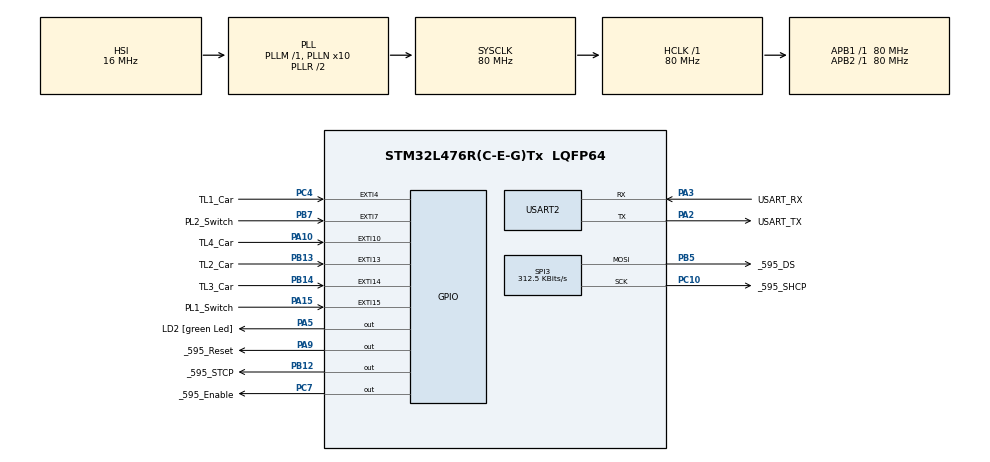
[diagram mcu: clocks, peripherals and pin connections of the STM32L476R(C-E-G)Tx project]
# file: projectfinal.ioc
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FREERTOS.BinarySemaphores01=ImGreenNow,Dynamic,NULL,Available
FREERTOS.Mutexes01=UART_Mutex,Dynamic,NULL,Available
FREERTOS.Queues01=MainQueue,1,uint16_t,0,Dynamic,NULL,NULL
FREERTOS.Tasks01=defaultTask,24,128,StartDefaultTask,Default,NULL,Dynamic,NULL,NULL;VertialTask,24,128,StartVertialTask,Default,NULL,Dynamic,NULL,NULL;HorizontalTask,24,128,StartHorizontalTask,Default,NULL,Dynamic,NULL,NULL;ActuatorTask,8,128,StartActuatorTask,Default,NULL,Dynamic,NULL,NULL
FREERTOS.Timers01=Green,GreenDone,osTimerOnce,Default,NULL,Dynamic,NULL;V_Orange,V_OrangeDone,osTimerOnce,Default,NULL,Dynamic,NULL;RedMax,RedMaxDone,osTimerOnce,Default,NULL,Dynamic,NULL;Walking,WalkingDone,osTimerOnce,Default,NULL,Dynamic,NULL;Pedestrian,PedestrianDone,osTimerOnce,Default,NULL,Dynamic,NULL;ToggleTimer,ToggleTimerCallback,osTimerPeriodic,Default,toggle_bit,Dynamic,NULL;H_Orange,H_OrangeDone,osTimerOnce,Default,NULL,Dynamic,NULL
FREERTOS.configTOTAL_HEAP_SIZE=6000
FREERTOS.configUSE_NEWLIB_REENTRANT=1
Mcu.Family=STM32L4
Mcu.Name=STM32L476R(C-E-G)Tx
Mcu.Package=LQFP64
NVIC.EXTI15_10_IRQn=true\:5\:0\:false\:false\:true\:true\:true\:true\:true
NVIC.EXTI4_IRQn=true\:5\:0\:false\:false\:true\:true\:true\:true\:true
NVIC.EXTI9_5_IRQn=true\:5\:0\:false\:false\:true\:true\:true\:true\:true
NVIC.PriorityGroup=NVIC_PRIORITYGROUP_4
NVIC.TIM1_UP_TIM16_IRQn=true\:15\:0\:false\:false\:true\:false\:false\:true\:true
NVIC.TimeBase=TIM1_UP_TIM16_IRQn
NVIC.TimeBaseIP=TIM1
NVIC.USART2_IRQn=true\:5\:0\:false\:false\:true\:true\:true\:true\:true
PA10.GPIO_Label=TL4_Car
PA10.GPIO_ModeDefaultEXTI=GPIO_MODE_IT_RISING_FALLING
PA10.Signal=GPXTI10
PA13\ (JTMS-SWDIO).GPIO_Label=TMS
PA13\ (JTMS-SWDIO).Mode=Serial_Wire
PA13\ (JTMS-SWDIO).Signal=SYS_JTMS-SWDIO
PA14\ (JTCK-SWCLK).GPIO_Label=TCK
PA14\ (JTCK-SWCLK).Mode=Serial_Wire
PA14\ (JTCK-SWCLK).Signal=SYS_JTCK-SWCLK
PA15\ (JTDI).GPIO_Label=PL1_Switch
PA15\ (JTDI).GPIO_PuPd=GPIO_PULLUP
PA15\ (JTDI).Signal=GPXTI15
PA2.GPIO_Label=USART_TX
PA2.GPIO_Mode=GPIO_MODE_AF_PP
PA2.GPIO_PuPd=GPIO_NOPULL
PA2.GPIO_Speed=GPIO_SPEED_FREQ_VERY_HIGH
PA2.Mode=Asynchronous
PA2.Signal=USART2_TX
PA3.GPIO_Label=USART_RX
PA3.GPIO_Mode=GPIO_MODE_AF_PP
PA3.GPIO_PuPd=GPIO_NOPULL
PA3.GPIO_Speed=GPIO_SPEED_FREQ_VERY_HIGH
PA3.Mode=Asynchronous
PA3.Signal=USART2_RX
PA5.GPIO_Label=LD2 [green Led]
PA5.GPIO_ModeDefaultOutputPP=GPIO_MODE_OUTPUT_PP
PA5.GPIO_PuPd=GPIO_NOPULL
PA5.GPIO_Speed=GPIO_SPEED_FREQ_LOW
PA5.Signal=GPIO_Output
PA9.GPIO_Label=_595_Reset
PA9.Signal=GPIO_Output
PB12.GPIO_Label=_595_STCP
PB12.Signal=GPIO_Output
PB13.GPIO_Label=TL2_Car
PB13.GPIO_ModeDefaultEXTI=GPIO_MODE_IT_RISING_FALLING
PB13.Signal=GPXTI13
PB14.GPIO_Label=TL3_Car
PB14.GPIO_ModeDefaultEXTI=GPIO_MODE_IT_RISING_FALLING
PB14.Signal=GPXTI14
PB3\ (JTDO-TRACESWO).GPIO_Label=SWO
PB3\ (JTDO-TRACESWO).Signal=SYS_JTDO-SWO
PB5.GPIO_Label=_595_DS
PB5.Mode=TX_Only_Simplex_Unidirect_Master
PB5.Signal=SPI3_MOSI
PB7.GPIO_Label=PL2_Switch
PB7.GPIO_PuPd=GPIO_PULLUP
PB7.Signal=GPXTI7
PC10.GPIO_Label=_595_SHCP
PC10.Mode=TX_Only_Simplex_Unidirect_Master
PC10.Signal=SPI3_SCK
PC11.GPIO_Label=Disp_CS
PC11.Signal=SPI3_MISO
PC14-OSC32_IN\ (PC14).Mode=LSE-External-Oscillator
PC14-OSC32_IN\ (PC14).Signal=RCC_OSC32_IN
PC15-OSC32_OUT\ (PC15).Mode=LSE-External-Oscillator
PC15-OSC32_OUT\ (PC15).Signal=RCC_OSC32_OUT
PC4.GPIO_Label=TL1_Car
PC4.GPIO_ModeDefaultEXTI=GPIO_MODE_IT_RISING_FALLING
PC4.Signal=GPXTI4
PC7.GPIO_Label=_595_Enable
PC7.Signal=GPIO_Output
PH0-OSC_IN\ (PH0).Signal=RCC_OSC_IN
PH1-OSC_OUT\ (PH1).Signal=RCC_OSC_OUT
ProjectManager.HeapSize=0x200
ProjectManager.StackSize=0x400
ProjectManager.TargetToolchain=STM32CubeIDE
RCC.ADCFreq_Value=64000000
RCC.AHBFreq_Value=80000000
RCC.APB1Freq_Value=80000000
RCC.APB1TimFreq_Value=80000000
RCC.APB2Freq_Value=80000000
RCC.APB2TimFreq_Value=80000000
RCC.CortexFreq_Value=80000000
RCC.HCLKFreq_Value=80000000
RCC.HSE_VALUE=8000000
RCC.HSI_VALUE=16000000
RCC.MSI_VALUE=4000000
RCC.PLLN=10
RCC.PLLSourceVirtual=RCC_PLLSOURCE_HSI
RCC.PREFETCH_ENABLE=1
RCC.SYSCLKFreq_VALUE=80000000
RCC.SYSCLKSource=RCC_SYSCLKSOURCE_PLLCLK
RCC.USBFreq_Value=64000000
RCC.VCOOutputFreq_Value=160000000
SPI3.BaudRatePrescaler=SPI_BAUDRATEPRESCALER_256
SPI3.CalculateBaudRate=312.5 KBits/s
SPI3.DataSize=SPI_DATASIZE_8BIT
SPI3.Direction=SPI_DIRECTION_2LINES
SPI3.Mode=SPI_MODE_MASTER
SPI3.VirtualType=VM_MASTER
USART2.VirtualMode-Asynchronous=VM_ASYNC
VP_FREERTOS_VS_CMSIS_V2.Mode=CMSIS_V2
VP_SYS_VS_tim1.Mode=TIM1
board=NUCLEO-L476RG

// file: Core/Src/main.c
/* USER CODE BEGIN Header */
/**
  ******************************************************************************
  * @file           : main.c
  * @brief          : Main program body
  ******************************************************************************
  * @attention
  *
  * Copyright (c) 2025 STMicroelectronics.
  * All rights reserved.
  *
  * This software is licensed under terms that can be found in the LICENSE file
  * in the root directory of this software component.
  * If no LICENSE file comes with this software, it is provided AS-IS.
  *
  ******************************************************************************
  */
/* USER CODE END Header */
#include "main.h"
#include "cmsis_os.h"
#include "spi.h"
#include "usart.h"
#include "gpio.h"

/* USER CODE BEGIN Includes */
#include "GPIOinputs.h"
#include "SPIhandler.h"
#include "test.h"
#include "statemachine.h"
#include "statemachine2.h"
#include "UARThandler.h"

/* USER CODE END Includes */

void SystemClock_Config(void);
void MX_FREERTOS_Init(void);

/* USER CODE BEGIN 0 */
uint8_t test[3] = {0xff,0xff,0xff};
/* USER CODE END 0 */

int main(void)
{

  /* MCU Configuration--------------------------------------------------------*/

  /* Reset of all peripherals, Initializes the Flash interface and the Systick. */
  HAL_Init();

  /* Configure the system clock */
  SystemClock_Config();

  /* Initialize all configured peripherals */
  MX_GPIO_Init();
  MX_USART2_UART_Init();
  MX_SPI3_Init();

  /* USER CODE BEGIN 2 */

  SPIinit();					//as the name suggest it
  Car_Starting_positions(); 	//as the name suggest it
  RuntimeConfig_init();         //gets ready to recive the uart message

  /* USER CODE END 2 */

  /* Init scheduler */
  osKernelInitialize();  /* Call init function for freertos objects (in cmsis_os2.c) */
  MX_FREERTOS_Init();

  /* Start scheduler */
  osKernelStart();

  /* We should never get here as control is now taken by the scheduler */

  /* Infinite loop */
  while (1)
  {

  }
}

void SystemClock_Config(void)
{
  RCC_OscInitTypeDef RCC_OscInitStruct = {0};
  RCC_ClkInitTypeDef RCC_ClkInitStruct = {0};

  /** Configure the main internal regulator output voltage
  */
  if (HAL_PWREx_ControlVoltageScaling(PWR_REGULATOR_VOLTAGE_SCALE1) != HAL_OK)
  {
    Error_Handler();
  }

  /** Initializes the RCC Oscillators according to the specified parameters
  * in the RCC_OscInitTypeDef structure.
  */
  RCC_OscInitStruct.OscillatorType = RCC_OSCILLATORTYPE_HSI;
  RCC_OscInitStruct.HSIState = RCC_HSI_ON;
  RCC_OscInitStruct.HSICalibrationValue = RCC_HSICALIBRATION_DEFAULT;
  RCC_OscInitStruct.PLL.PLLState = RCC_PLL_ON;
  RCC_OscInitStruct.PLL.PLLSource = RCC_PLLSOURCE_HSI;
  RCC_OscInitStruct.PLL.PLLM = 1;
  RCC_OscInitStruct.PLL.PLLN = 10;
  RCC_OscInitStruct.PLL.PLLP = RCC_PLLP_DIV7;
  RCC_OscInitStruct.PLL.PLLQ = RCC_PLLQ_DIV2;
  RCC_OscInitStruct.PLL.PLLR = RCC_PLLR_DIV2;
  if (HAL_RCC_OscConfig(&RCC_OscInitStruct) != HAL_OK)
  {
    Error_Handler();
  }

  /** Initializes the CPU, AHB and APB buses clocks
  */
  RCC_ClkInitStruct.ClockType = RCC_CLOCKTYPE_HCLK|RCC_CLOCKTYPE_SYSCLK
                              |RCC_CLOCKTYPE_PCLK1|RCC_CLOCKTYPE_PCLK2;
  RCC_ClkInitStruct.SYSCLKSource = RCC_SYSCLKSOURCE_PLLCLK;
  RCC_ClkInitStruct.AHBCLKDivider = RCC_SYSCLK_DIV1;
  RCC_ClkInitStruct.APB1CLKDivider = RCC_HCLK_DIV1;
  RCC_ClkInitStruct.APB2CLKDivider = RCC_HCLK_DIV1;

  if (HAL_RCC_ClockConfig(&RCC_ClkInitStruct, FLASH_LATENCY_4) != HAL_OK)
  {
    Error_Handler();
  }
}

void HAL_TIM_PeriodElapsedCallback(TIM_HandleTypeDef *htim)
{
  if (htim->Instance == TIM1)
  {
    HAL_IncTick();
  }
}

void Error_Handler(void)
{
  __disable_irq();
  while (1)
  {
  }
}

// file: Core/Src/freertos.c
/* USER CODE BEGIN Header */
/**
  ******************************************************************************
  * File Name          : freertos.c
  * Description        : Code for freertos applications
  ******************************************************************************
  * @attention
  *
  * Copyright (c) 2025 STMicroelectronics.
  * All rights reserved.
  *
  * This software is licensed under terms that can be found in the LICENSE file
  * in the root directory of this software component.
  * If no LICENSE file comes with this software, it is provided AS-IS.
  *
  ******************************************************************************
  */
/* USER CODE END Header */

#include "FreeRTOS.h"
#include "task.h"
#include "main.h"
#include "cmsis_os.h"

/* USER CODE BEGIN Includes */
#include "GPIOinputs.h"
#include "SPIhandler.h"
#include "TimeAndDelays.h"
#include "statemachine2.h"
#include <string.h>
#include "timers.h"
#include "UARThandler.h"

/* USER CODE END Includes */

/* USER CODE BEGIN PTD */
typedef enum {
    STATE_RED,
    STATE_GREEN,
    STATE_PENDING,     // Button pressed, waiting for Green timer
    STATE_ORANGE_G2R,  // Green to Red transition
    STATE_ORANGE_R2G,  // Red to Green transition
    STATE_PED_WALK     // Pedestrian crossing active
} LightState;

/* USER CODE END PTD */

/* USER CODE BEGIN PD */
#define TOGGLE_EVT_1     (1 << 0)
#define TOGGLE_EVT_2     (1 << 1)
#define REDMAX_EVT    	 (1 << 2)
#define V_ORANGE_EVT     (1 << 3)
#define H_ORANGE_EVT     (1 << 7)
#define GREEN_EVT    	 (1 << 4)
#define PED_EVT     	 (1 << 5)
#define SHOW_EVT		 (1 << 6)
#define WALK_EVT		 (1 << 6)

/* USER CODE END PD */

/* USER CODE BEGIN Variables */
static uint32_t toggle_evt_value;/* USER CODE END Variables */

/* Definitions for defaultTask */
osThreadId_t defaultTaskHandle;
const osThreadAttr_t defaultTask_attributes = {
  .name = "defaultTask",
  .stack_size = 128 * 4,
  .priority = (osPriority_t) osPriorityNormal,
};
/* Definitions for VertialTask */
osThreadId_t VertialTaskHandle;
const osThreadAttr_t VertialTask_attributes = {
  .name = "VertialTask",
  .stack_size = 128 * 4,
  .priority = (osPriority_t) osPriorityNormal,
};
/* Definitions for HorizontalTask */
osThreadId_t HorizontalTaskHandle;
const osThreadAttr_t HorizontalTask_attributes = {
  .name = "HorizontalTask",
  .stack_size = 128 * 4,
  .priority = (osPriority_t) osPriorityNormal,
};
/* Definitions for ActuatorTask */
osThreadId_t ActuatorTaskHandle;
const osThreadAttr_t ActuatorTask_attributes = {
  .name = "ActuatorTask",
  .stack_size = 128 * 4,
  .priority = (osPriority_t) osPriorityLow,
};
/* Definitions for MainQueue */
osMessageQueueId_t MainQueueHandle;
const osMessageQueueAttr_t MainQueue_attributes = {
  .name = "MainQueue"
};
/* Definitions for Green */
osTimerId_t GreenHandle;
const osTimerAttr_t Green_attributes = {
  .name = "Green"
};
/* Definitions for V_Orange */
osTimerId_t V_OrangeHandle;
const osTimerAttr_t V_Orange_attributes = {
  .name = "V_Orange"
};
/* Definitions for RedMax */
osTimerId_t RedMaxHandle;
const osTimerAttr_t RedMax_attributes = {
  .name = "RedMax"
};
/* Definitions for Walking */
osTimerId_t WalkingHandle;
const osTimerAttr_t Walking_attributes = {
  .name = "Walking"
};
/* Definitions for Pedestrian */
osTimerId_t PedestrianHandle;
const osTimerAttr_t Pedestrian_attributes = {
  .name = "Pedestrian"
};
/* Definitions for ToggleTimer */
osTimerId_t ToggleTimerHandle;
const osTimerAttr_t ToggleTimer_attributes = {
  .name = "ToggleTimer"
};
/* Definitions for H_Orange */
osTimerId_t H_OrangeHandle;
const osTimerAttr_t H_Orange_attributes = {
  .name = "H_Orange"
};
/* Definitions for UART_Mutex */
osMutexId_t UART_MutexHandle;
const osMutexAttr_t UART_Mutex_attributes = {
  .name = "UART_Mutex"
};
/* Definitions for ImGreenNow */
osSemaphoreId_t ImGreenNowHandle;
const osSemaphoreAttr_t ImGreenNow_attributes = {
  .name = "ImGreenNow"
};

/* USER CODE BEGIN FunctionPrototypes */
uint8_t IsActive(osThreadId_t );
void Restbutton(void);
/* USER CODE END FunctionPrototypes */

void StartDefaultTask(void *argument);
void StartVertialTask(void *argument);
void StartHorizontalTask(void *argument);
void StartActuatorTask(void *argument);
void GreenDone(void *argument);
void V_OrangeDone(void *argument);
void RedMaxDone(void *argument);
void WalkingDone(void *argument);
void PedestrianDone(void *argument);
void ToggleTimerCallback(void *argument);
void H_OrangeDone(void *argument);

void MX_FREERTOS_Init(void); /* (MISRA C 2004 rule 8.1) */

void MX_FREERTOS_Init(void) {
  /* Create the mutex(es) */
  /* creation of UART_Mutex */
  UART_MutexHandle = osMutexNew(&UART_Mutex_attributes);

  /* Create the semaphores(s) */
  /* creation of ImGreenNow */
  ImGreenNowHandle = osSemaphoreNew(1, 0, &ImGreenNow_attributes);

  /* Create the timer(s) */
  /* creation of Green */
  GreenHandle = osTimerNew(GreenDone, osTimerOnce, NULL, &Green_attributes);

  /* creation of V_Orange */
  V_OrangeHandle = osTimerNew(V_OrangeDone, osTimerOnce, NULL, &V_Orange_attributes);

  /* creation of RedMax */
  RedMaxHandle = osTimerNew(RedMaxDone, osTimerOnce, NULL, &RedMax_attributes);

  /* creation of Walking */
  WalkingHandle = osTimerNew(WalkingDone, osTimerOnce, NULL, &Walking_attributes);

  /* creation of Pedestrian */
  PedestrianHandle = osTimerNew(PedestrianDone, osTimerOnce, NULL, &Pedestrian_attributes);

  /* creation of ToggleTimer */
  ToggleTimerHandle = osTimerNew(ToggleTimerCallback, osTimerPeriodic, &toggle_evt_value, &ToggleTimer_attributes);

  /* creation of H_Orange */
  H_OrangeHandle = osTimerNew(H_OrangeDone, osTimerOnce, NULL, &H_Orange_attributes);

  /* Create the queue(s) */
  /* creation of MainQueue */
  MainQueueHandle = osMessageQueueNew (1, sizeof(uint16_t), &MainQueue_attributes);

  /* Create the thread(s) */
  /* creation of defaultTask */
  defaultTaskHandle = osThreadNew(StartDefaultTask, NULL, &defaultTask_attributes);

  /* creation of VertialTask */
  VertialTaskHandle = osThreadNew(StartVertialTask, NULL, &VertialTask_attributes);

  /* creation of HorizontalTask */
  HorizontalTaskHandle = osThreadNew(StartHorizontalTask, NULL, &HorizontalTask_attributes);

  /* creation of ActuatorTask */
  ActuatorTaskHandle = osThreadNew(StartActuatorTask, NULL, &ActuatorTask_attributes);

}

void StartDefaultTask(void *argument)
{
  for(;;)
  {
    osDelay(1);
  }
}

void StartVertialTask(void *argument)
{
  /* USER CODE BEGIN StartVertialTask */
	LightState Vcurrent = STATE_GREEN;
	//take the semaphore at starup
	osSemaphoreRelease(ImGreenNowHandle);
	osSemaphoreAcquire(ImGreenNowHandle, osWaitForever);

 uint32_t events;

  /* Infinite loop */
  for(;;)
  {
	  uint8_t V_ACTIVE = ActiveCarOnLane(Vertical);
	  uint8_t H_ACTIVE = ActiveCarOnLane(Horizontal);

	  switch(Vcurrent){

	  case STATE_GREEN:
		  //show the lights that represent the current state on the board
	      memcpy(Shownstate, V_Green, 3);
	      xTaskNotify(ActuatorTaskHandle, SHOW_EVT, eSetBits);

	      // if horizotal car arrives start the redmax timer
	      if (H_ACTIVE == 1 && IsActive(RedMaxHandle) == 0) {
	          osTimerStart(RedMaxHandle, pdMS_TO_TICKS(redDelayMax - 2* orangeDelay));
	          osTimerStop(GreenHandle);
	      }
	      // if horizotal leaves arrives reset the redmax timer
	      else if (H_ACTIVE == 0) {
	          osTimerStop(RedMaxHandle);
	      }

		  // if current lane is emty and horiontal car is waiting immeadaty switch horizontal
	      if ((V_ACTIVE == 0) && (H_ACTIVE == 1)) {
	          osTimerStop(RedMaxHandle);
	          osTimerStop(GreenHandle);
	          Vcurrent = STATE_ORANGE_G2R;
	      }
	      // if no horizontal car is waiting reset the all timers to halt a transion from happening
	      else if ((V_ACTIVE == 1) && (H_ACTIVE == 0)) {
	          osTimerStop(GreenHandle);
	      }
	      // if there is no cars what so ever start greenDelay
	      else if ((V_ACTIVE == 0) && (H_ACTIVE == 0) && !IsActive(GreenHandle)) {
	          osTimerStart(GreenHandle, pdMS_TO_TICKS(greenDelay - 2* orangeDelay));
	      }

	      // Pedestrian button press immediately go to STATE_PENDING
	      if (PL2_switch_var == 1) {
	          PL2_switch_var = 0;
	          osTimerStop(RedMaxHandle);
	          osTimerStop(GreenHandle);
	          Vcurrent = STATE_PENDING;
	      }

	      // Check timer/event notifications without blocking
	      BaseType_t notified = xTaskNotifyWait(0, 0xFFFFFFFF, &events, pdMS_TO_TICKS(10));
	      if (notified == pdTRUE) {

	          if (events & GREEN_EVT) {
	              Vcurrent = STATE_ORANGE_G2R;
	          }
	          else if (events & REDMAX_EVT) {
	              Vcurrent = STATE_ORANGE_G2R;
	          }

	      }
	  break;

	  case STATE_ORANGE_G2R:
		  //show the lights that represent the current state on the board
	      memcpy(Shownstate, V_Orange_G2R, 3);
	      xTaskNotify(ActuatorTaskHandle, SHOW_EVT, eSetBits);

	      //start timer
	      if (!IsActive(V_OrangeHandle)) {
	          osTimerStart(V_OrangeHandle, pdMS_TO_TICKS(orangeDelay));
	      }
	      //wait for timer to finish
	      xTaskNotifyWait(0, 0xFFFFFFFF, &events, osWaitForever);
	      if (events & V_ORANGE_EVT) {
	    	  osTimerStop(V_OrangeHandle);
	          Vcurrent = STATE_RED;
	      }
	  break;

	  case STATE_RED:
		  //relase the semaphore so horizontal task can take over
		  osSemaphoreRelease(ImGreenNowHandle);
          Vcurrent = STATE_ORANGE_R2G;
		  osThreadYield();
		  // wait for horizontal task to finish to resume the statemachine
          osSemaphoreAcquire(ImGreenNowHandle, osWaitForever);

		  break;
	  //this is the state it returns to when coming from horizontal task
	  case STATE_ORANGE_R2G:

		  xTaskNotifyStateClear(NULL);
		  xTaskNotifyWait(0, 0xFFFFFFFF, &events, 0);

          memcpy(Shownstate, V_Orange_R2G, 3);
          xTaskNotify(ActuatorTaskHandle, SHOW_EVT, eSetBits);
	      if (!IsActive(V_OrangeHandle)) {
	          osTimerStart(V_OrangeHandle, pdMS_TO_TICKS(orangeDelay));
	      }

	      xTaskNotifyWait(0, 0xFFFFFFFF, &events, osWaitForever);

	      if (events & V_ORANGE_EVT) {
	    	  osTimerStop(V_OrangeHandle);
	          Vcurrent = STATE_GREEN;
	      }

		  break;

		  //this state is basically all the trassion states combined into one, It ignors all the other timers and focusees on the pedestrian timers
		  //this is due to that we pedestrian have the prioity
	  case STATE_PENDING:

		  toggle_evt_value =  TOGGLE_EVT_2;
		   if (!IsActive(ToggleTimerHandle)) {
		       osTimerStart(ToggleTimerHandle, pdMS_TO_TICKS(toggleFreq));
		    }

	      if (!IsActive(PedestrianHandle)) {
	          osTimerStart(PedestrianHandle, pdMS_TO_TICKS(pedestrianDelay - 2 * orangeDelay));
	      }
	      xTaskNotifyWait(0, 0xFFFFFFFF, &events, osWaitForever);

	      if (events & PED_EVT) {
	    	  memcpy(Shownstate, V_Orange_G2R, 3);
		      if (!IsActive(V_OrangeHandle)) {
		          osTimerStart(V_OrangeHandle, pdMS_TO_TICKS(orangeDelay));

		      }
	      }
		  xTaskNotifyWait(0, 0xFFFFFFFF, &events, osWaitForever);
	      if (events & V_ORANGE_EVT) {
	    	  memcpy(Shownstate, H_Orange_R2G, 3);
		      if (!IsActive(V_OrangeHandle)) {
		          osTimerStart(V_OrangeHandle, pdMS_TO_TICKS(orangeDelay));

		      }

		      }
		  xTaskNotifyWait(0, 0xFFFFFFFF, &events, osWaitForever);
	      if (events & V_ORANGE_EVT) {
	    	  osTimerStop(V_OrangeHandle);
	    	  Vcurrent = STATE_PED_WALK;

		      }

	      break;

	      //eqivalent to the horzontal STATE_GREEN but only stays there for walkingDelay ms
	  case STATE_PED_WALK:

		  osTimerStop(ToggleTimerHandle);
    	  memcpy(Shownstate, H_Green, 3);
    	  xTaskNotify(ActuatorTaskHandle,SHOW_EVT,eSetBits);

    	  if (!IsActive(WalkingHandle)) {
		       osTimerStart(WalkingHandle, pdMS_TO_TICKS(walkingDelay));
		  }
    	  xTaskNotifyWait(0, 0xFFFFFFFF, &events, osWaitForever);
    	  if (events & WALK_EVT) {
        	  memcpy(Shownstate, H_Orange_G2R, 3);
        	  xTaskNotify(ActuatorTaskHandle,SHOW_EVT,eSetBits);
		      if (!IsActive(V_OrangeHandle)) {
		          osTimerStart(V_OrangeHandle, pdMS_TO_TICKS(orangeDelay));

		      }
    	  }
		  xTaskNotifyWait(0, 0xFFFFFFFF, &events, osWaitForever);
	      if (events & V_ORANGE_EVT) {
	    	  osTimerStop(V_OrangeHandle);
	    	  Vcurrent = STATE_ORANGE_R2G;

		      }
		  break;
	  }

	  }

  }
  /* USER CODE END StartVertialTask */

void StartHorizontalTask(void *argument)
{
  /* USER CODE BEGIN StartHorizontalTask */
  /* Infinite loop */

	//first time aquireing semaphore will be after vertial state has reached red state that means we should pick up from STATE_ORANGE_R2G
	osSemaphoreAcquire(ImGreenNowHandle, osWaitForever);
    LightState Hcurrent = STATE_ORANGE_R2G;
	uint32_t events;// Start with its own R2G
  for(;;)
  {
   // the following state machine is jsut a mirrored version of the vertal statemachine so i wont be commenting
	  uint8_t V_ACTIVE = ActiveCarOnLane(Vertical);
	  uint8_t H_ACTIVE = ActiveCarOnLane(Horizontal);

	  switch(Hcurrent){

	  case STATE_GREEN:
	      memcpy(Shownstate, H_Green, 3);
	      xTaskNotify(ActuatorTaskHandle, SHOW_EVT, eSetBits);

	      if (V_ACTIVE == 1 && IsActive(RedMaxHandle) == 0) {
	          osTimerStart(RedMaxHandle, pdMS_TO_TICKS(redDelayMax - 2* orangeDelay));
	          osTimerStop(GreenHandle);
	      }
	      else if (V_ACTIVE == 0) {
	          osTimerStop(RedMaxHandle);
	      }

	      if ((H_ACTIVE == 0) && (V_ACTIVE == 1)) {
	          osTimerStop(RedMaxHandle);
	          osTimerStop(GreenHandle);
	          Hcurrent = STATE_ORANGE_G2R;
	      }
	      else if ((H_ACTIVE == 1) && (V_ACTIVE == 0)) {
	          osTimerStop(RedMaxHandle);
	          osTimerStop(GreenHandle);
	      }
	      else if ((H_ACTIVE == 0) && (V_ACTIVE == 0) && !IsActive(GreenHandle)) {
	          osTimerStart(GreenHandle, pdMS_TO_TICKS(greenDelay - 2* orangeDelay));
	      }

	      if (PL1_switch_var == 1) {
	          PL1_switch_var = 0;
	          osTimerStop(RedMaxHandle);
	          osTimerStop(GreenHandle);
	          Hcurrent = STATE_PENDING;
	      }

	      BaseType_t notified = xTaskNotifyWait(0, 0xFFFFFFFF, &events, pdMS_TO_TICKS(10));
	      if (notified == pdTRUE) {

	          if (events & GREEN_EVT) {
	              Hcurrent = STATE_ORANGE_G2R;
	          }
	          else if (events & REDMAX_EVT) {
	              Hcurrent = STATE_ORANGE_G2R;
	          }

	      }
	  break;

	  case STATE_ORANGE_G2R:

	      memcpy(Shownstate, H_Orange_G2R, 3);
	      xTaskNotify(ActuatorTaskHandle, SHOW_EVT, eSetBits);

	      if (!IsActive(H_OrangeHandle)) {
	          osTimerStart(H_OrangeHandle, pdMS_TO_TICKS(orangeDelay));
	      }

	      xTaskNotifyWait(0, 0xFFFFFFFF, &events, osWaitForever);

	      if (events & H_ORANGE_EVT) {
	    	  osTimerStop(H_OrangeHandle);
	          Hcurrent = STATE_RED;               // Transition to RED

	      }
	  break;

	  case STATE_RED:

		  osSemaphoreRelease(ImGreenNowHandle);

          Hcurrent = STATE_ORANGE_R2G;
		  osThreadYield();
          osSemaphoreAcquire(ImGreenNowHandle, osWaitForever);

		  break;

	  case STATE_ORANGE_R2G:

		  xTaskNotifyStateClear(NULL);
		  xTaskNotifyWait(0, 0xFFFFFFFF, &events, 0);

	      memcpy(Shownstate, H_Orange_R2G, 3);
	      xTaskNotify(ActuatorTaskHandle, SHOW_EVT, eSetBits);

	      if (!IsActive(H_OrangeHandle)) {
	          osTimerStart(H_OrangeHandle, pdMS_TO_TICKS(orangeDelay));
	      }

	      xTaskNotifyWait(0, 0xFFFFFFFF, &events, osWaitForever);

	      if (events & H_ORANGE_EVT) {
	    	  osTimerStop(H_OrangeHandle);
	          Hcurrent = STATE_GREEN;

	      }
		  break;

	  case STATE_PENDING:

		  toggle_evt_value =  TOGGLE_EVT_1;
		   if (!IsActive(ToggleTimerHandle)) {
		       osTimerStart(ToggleTimerHandle, pdMS_TO_TICKS(toggleFreq));
		    }

	      if (!IsActive(PedestrianHandle)) {
	          osTimerStart(PedestrianHandle, pdMS_TO_TICKS(pedestrianDelay - 2 * orangeDelay));
	      }
	      xTaskNotifyWait(0, 0xFFFFFFFF, &events, osWaitForever);

	      if (events & PED_EVT) {
	    	  memcpy(Shownstate, H_Orange_G2R, 3);
		      if (!IsActive(H_OrangeHandle)) {
		          osTimerStart(H_OrangeHandle, pdMS_TO_TICKS(orangeDelay));

		      }
	      }
		  xTaskNotifyWait(0, 0xFFFFFFFF, &events, osWaitForever);
	      if (events & H_ORANGE_EVT) {
	    	  memcpy(Shownstate, V_Orange_R2G, 3);
		      if (!IsActive(H_OrangeHandle)) {
		          osTimerStart(H_OrangeHandle, pdMS_TO_TICKS(orangeDelay));

		      }

		      }
		  xTaskNotifyWait(0, 0xFFFFFFFF, &events, osWaitForever);
	      if (events & H_ORANGE_EVT) {
	    	  osTimerStop(H_OrangeHandle);
	    	  Hcurrent = STATE_PED_WALK;

		      }

	      break;
	  case STATE_PED_WALK:

		  osTimerStop(ToggleTimerHandle);
    	  memcpy(Shownstate, V_Green, 3);
    	  xTaskNotify(ActuatorTaskHandle,SHOW_EVT,eSetBits);

    	  if (!IsActive(WalkingHandle)) {
		       osTimerStart(WalkingHandle, pdMS_TO_TICKS(walkingDelay));
		  }
    	  xTaskNotifyWait(0, 0xFFFFFFFF, &events, osWaitForever);
    	  if (events & WALK_EVT) {
        	  memcpy(Shownstate, V_Orange_G2R, 3);
        	  xTaskNotify(ActuatorTaskHandle,SHOW_EVT,eSetBits);
		      if (!IsActive(H_OrangeHandle)) {
		          osTimerStart(H_OrangeHandle, pdMS_TO_TICKS(orangeDelay));

		      }
    	  }
		  xTaskNotifyWait(0, 0xFFFFFFFF, &events, osWaitForever);
	      if (events & H_ORANGE_EVT) {
	    	  osTimerStop(H_OrangeHandle);
	    	  Hcurrent = STATE_ORANGE_R2G;

		      }
		  break;
	  }
  }
  /* USER CODE END StartHorizontalTask */
}

// this task has sole possession over the SPI comunication

void StartActuatorTask(void *argument)
{
  /* USER CODE BEGIN StartActuatorTask */
	uint32_t events; // handles the "calls"
  /* Infinite loop */
  for(;;)
  {
	  xTaskNotifyWait(0,TOGGLE_EVT_1 | TOGGLE_EVT_2 | SHOW_EVT, &events, osWaitForever);
	  //responsible for the toggling of PL1
	  if (events & TOGGLE_EVT_1){
		  Shownstate[2] ^= indicatorbit;
	  }
	  //responsible for the toggling of PL2
	  if (events & TOGGLE_EVT_2){
		  Shownstate[1] ^= indicatorbit;
	  }
	  // just falls trough so
	  if (events & SHOW_EVT){

	  }

      SPIshow_state(Shownstate);

  }
  /* USER CODE END StartActuatorTask */
}

/* GreenDone function */
void GreenDone(void *argument)
{
  /* USER CODE BEGIN GreenDone */
	xTaskNotify(VertialTaskHandle,GREEN_EVT,eSetBits);
	xTaskNotify(HorizontalTaskHandle,GREEN_EVT,eSetBits);
  /* USER CODE END GreenDone */
}

/* V_OrangeDone function */
void V_OrangeDone(void *argument)
{
  /* USER CODE BEGIN V_OrangeDone */
	xTaskNotify(VertialTaskHandle,V_ORANGE_EVT,eSetBits);
  /* USER CODE END V_OrangeDone */
}

/* RedMaxDone function */
void RedMaxDone(void *argument)
{
  /* USER CODE BEGIN RedMaxDone */
	xTaskNotify(VertialTaskHandle,REDMAX_EVT,eSetBits);
	xTaskNotify(HorizontalTaskHandle,REDMAX_EVT,eSetBits);

  /* USER CODE END RedMaxDone */
}

/* WalkingDone function */
void WalkingDone(void *argument)
{
  /* USER CODE BEGIN WalkingDone */
	xTaskNotify(VertialTaskHandle,WALK_EVT,eSetBits);
	xTaskNotify(HorizontalTaskHandle,WALK_EVT,eSetBits);
  /* USER CODE END WalkingDone */
}

/* PedestrianDone function */
void PedestrianDone(void *argument)
{
  /* USER CODE BEGIN PedestrianDone */
	xTaskNotify(VertialTaskHandle,PED_EVT,eSetBits);
	xTaskNotify(HorizontalTaskHandle,PED_EVT,eSetBits);

  /* USER CODE END PedestrianDone */
}

/* ToggleTimerCallback function */
void ToggleTimerCallback(void *argument)
{
  /* USER CODE BEGIN ToggleTimerCallback */
	uint32_t bit_to_toggle = *(uint32_t *)argument;
	xTaskNotify(ActuatorTaskHandle,bit_to_toggle,eSetBits);
  /* USER CODE END ToggleTimerCallback */
}

/* H_OrangeDone function */
void H_OrangeDone(void *argument)
{
  /* USER CODE BEGIN H_OrangeDone */
	xTaskNotify(HorizontalTaskHandle,H_ORANGE_EVT,eSetBits);
  /* USER CODE END H_OrangeDone */
}

/* USER CODE BEGIN Application */

uint8_t IsActive(osThreadId_t timer){
	if(osTimerIsRunning(timer) == pdTRUE){
		return 1;
	}
	return 0;
}

void Restbutton(){
	PL1_switch_var = 0;
	PL2_switch_var = 0;

}

/* USER CODE END Application */
